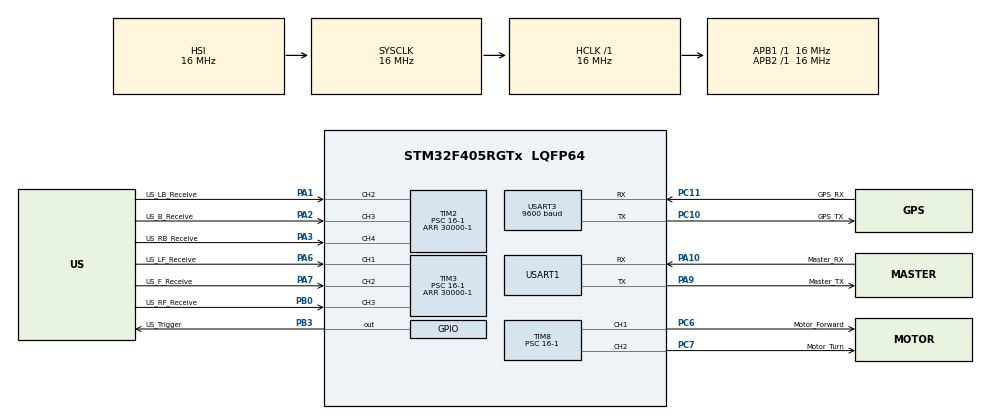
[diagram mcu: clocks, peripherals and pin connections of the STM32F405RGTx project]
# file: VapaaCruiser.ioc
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Mcu.Family=STM32F4
NVIC.USART3_IRQn=true\:0\:0\:false\:false\:true\:true\:true
PA2.GPIO_PuPd=GPIO_PULLDOWN
RCC.CortexFreq_Value=16000000
PC10.GPIO_PuPd=GPIO_PULLDOWN
PA10.GPIO_PuPd=GPIO_PULLDOWN
PC10.Signal=USART3_TX
PA3.GPIO_PuPd=GPIO_PULLDOWN
PA2.GPIO_Speed=GPIO_SPEED_FREQ_LOW
PC6.GPIO_Label=Motor_Forward
PA6.GPIO_Label=US_LF_Receive
PB0.GPIO_Label=US_RF_Receive
PA3.GPIO_Speed=GPIO_SPEED_FREQ_LOW
ProjectManager.StackSize=0x400
TIM3.Channel-Input_Capture3_from_TI3=TIM_CHANNEL_3
PC11.GPIO_PuPd=GPIO_PULLDOWN
USART3.BaudRate=9600
TIM8.Channel-PWM\ Generation1\ CH1=TIM_CHANNEL_1
TIM3.Period=30000-1
TIM2.Channel-Input_Capture3_from_TI3=TIM_CHANNEL_3
PC7.Signal=S_TIM8_CH2
PA1.GPIO_PuPd=GPIO_PULLDOWN
RCC.AHBFreq_Value=16000000
RCC.HSE_VALUE=25000000
TIM3.Channel-Input_Capture1_from_TI1=TIM_CHANNEL_1
PA6.GPIO_PuPd=GPIO_PULLDOWN
TIM3.Prescaler=16-1
PC11.GPIO_Label=GPS_RX
NVIC.TIM2_IRQn=true\:0\:0\:false\:false\:true\:true\:true
PA10.GPIO_Label=Master_RX
SH.S_TIM3_CH1.0=TIM3_CH1,Input_Capture1_from_TI1
TIM4.Period=100
Mcu.Package=LQFP64
TIM2.Prescaler=16-1
PA6.Signal=S_TIM3_CH1
TIM2.Channel-Input_Capture2_from_TI2=TIM_CHANNEL_2
PA2.GPIO_Label=US_B_Receive
PA10.Signal=USART1_RX
TIM8.Channel-PWM\ Generation2\ CH2=TIM_CHANNEL_2
PC11.Mode=Asynchronous
TIM8.Prescaler=16-1
PA6.GPIO_Speed=GPIO_SPEED_FREQ_LOW
NVIC.USART1_IRQn=true\:0\:0\:false\:false\:true\:true\:true
VP_TIM3_VS_ClockSourceINT.Mode=Internal
PA3.Signal=S_TIM2_CH4
PB3.GPIO_Label=US_Trigger
TIM3.Channel-Input_Capture2_from_TI2=TIM_CHANNEL_2
PA10.Mode=Asynchronous
PC10.GPIO_Label=GPS_TX
PA9.GPIO_Label=Master_TX
PC11.Signal=USART3_RX
PC6.Signal=S_TIM8_CH1
PC10.Mode=Asynchronous
SH.S_TIM3_CH3.0=TIM3_CH3,Input_Capture3_from_TI3
PA9.GPIO_PuPd=GPIO_PULLDOWN
SH.S_TIM8_CH2.0=TIM8_CH2,PWM Generation2 CH2
PB0.GPIO_Speed=GPIO_SPEED_FREQ_LOW
SH.S_TIM2_CH2.0=TIM2_CH2,Input_Capture2_from_TI2
PA9.Mode=Asynchronous
ProjectManager.TargetToolchain=STM32CubeIDE
PA9.Signal=USART1_TX
VP_TIM8_VS_ClockSourceINT.Mode=Internal
TIM4.Prescaler=16000-1
RCC.LSE_VALUE=32768
PA7.GPIO_PuPd=GPIO_PULLDOWN
PA1.Signal=S_TIM2_CH2
SH.S_TIM3_CH2.0=TIM3_CH2,Input_Capture2_from_TI2
SH.S_TIM8_CH1.0=TIM8_CH1,PWM Generation1 CH1
board=custom
RCC.VCOOutputFreq_Value=192000000
PA7.GPIO_Speed=GPIO_SPEED_FREQ_LOW
NVIC.TIM3_IRQn=true\:0\:0\:false\:false\:true\:true\:true
RCC.APB2Freq_Value=16000000
VP_TIM2_VS_ClockSourceINT.Mode=Internal
SH.S_TIM2_CH3.0=TIM2_CH3,Input_Capture3_from_TI3
PA1.GPIO_Speed=GPIO_SPEED_FREQ_LOW
PA1.GPIO_Label=US_LB_Receive
TIM2.Channel-Input_Capture4_from_TI4=TIM_CHANNEL_4
TIM2.Period=30000-1
Mcu.Name=STM32F405RGTx
PA2.Signal=S_TIM2_CH3
TIM8.Period=20000-1
PC7.GPIO_Label=Motor_Turn
PB3.Signal=GPIO_Output
RCC.SYSCLKFreq_VALUE=16000000
PA7.GPIO_Label=US_F_Receive
USART3.VirtualMode=VM_ASYNC
USART1.VirtualMode=VM_ASYNC
ProjectManager.HeapSize=0x200
SH.S_TIM2_CH4.0=TIM2_CH4,Input_Capture4_from_TI4
RCC.HSI_VALUE=16000000
VP_TIM4_VS_ClockSourceINT.Mode=Internal
NVIC.PriorityGroup=NVIC_PRIORITYGROUP_4
NVIC.TIM4_IRQn=true\:0\:0\:false\:false\:true\:true\:true
RCC.APB1Freq_Value=16000000
PB0.Signal=S_TIM3_CH3
PB0.GPIO_PuPd=GPIO_PULLDOWN
PA3.GPIO_Label=US_RB_Receive
PA7.Signal=S_TIM3_CH2

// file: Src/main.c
/* USER CODE BEGIN Header */
/**
  ******************************************************************************
  * @file           : main.c
  * @brief          : Main program body
  ******************************************************************************
  * @attention
  *
  * <h2><center>&copy; Copyright (c) 2020 STMicroelectronics.
  * All rights reserved.</center></h2>
  *
  * This software component is licensed by ST under BSD 3-Clause license,
  * the "License"; You may not use this file except in compliance with the
  * License. You may obtain a copy of the License at:
  *                        opensource.org/licenses/BSD-3-Clause
  *
  ******************************************************************************
  */
/* USER CODE END Header */

#include "main.h"

/* USER CODE BEGIN Includes */
#include <stdio.h>
#include <string.h>
#include "ultrasound.h"
#include "command.h"
#include "gps.h"
#include "motor.h"
#include "status.h"
/* USER CODE END Includes */

TIM_HandleTypeDef htim2;
TIM_HandleTypeDef htim3;
TIM_HandleTypeDef htim4;
TIM_HandleTypeDef htim8;

UART_HandleTypeDef huart1;
UART_HandleTypeDef huart3;

/* USER CODE BEGIN PV */

unsigned char g_Update = 0;
unsigned char g_USTrigger = 0;
/* USER CODE END PV */

void SystemClock_Config(void);
static void MX_GPIO_Init(void);
static void MX_TIM3_Init(void);
static void MX_TIM8_Init(void);
static void MX_USART1_UART_Init(void);
static void MX_USART3_UART_Init(void);
static void MX_TIM2_Init(void);
static void MX_TIM4_Init(void);

/* USER CODE BEGIN 0 */
void HAL_TIM_IC_CaptureCallback(TIM_HandleTypeDef *htim){
	ComputeUltrasoundDist(htim);
}

void HAL_TIM_PeriodElapsedCallback(TIM_HandleTypeDef *htim){
	if(htim->Instance == TIM3){
		g_Update = 1;
	}
	else if(htim->Instance == TIM4){
		g_USTrigger = 1;
	}
}

void HAL_UART_RxCpltCallback(UART_HandleTypeDef *UartHandle){
	ReceiveGPSInfo(UartHandle);
	ReceiveCommand(UartHandle);
}

void HAL_UART_TxCpltCallback(UART_HandleTypeDef *UartHandle){
	ContinueStatusSend(UartHandle);
}

/* USER CODE END 0 */

int main(void)
{

  /* MCU Configuration--------------------------------------------------------*/

  /* Reset of all peripherals, Initializes the Flash interface and the Systick. */
  HAL_Init();

  /* Configure the system clock */
  SystemClock_Config();

  /* Initialize all configured peripherals */
  MX_GPIO_Init();
  MX_TIM3_Init();
  MX_TIM8_Init();
  MX_USART1_UART_Init();
  MX_USART3_UART_Init();
  MX_TIM2_Init();
  MX_TIM4_Init();
  /* USER CODE BEGIN 2 */

	UltrasoundInstance usLF = {0}, usF = {0}, usRF = {0};
	UltrasoundInstance usLB = {0}, usB = {0}, usRB = {0};
	usLF.dir = US_LF;
	usF.dir = US_F;
	usRF.dir = US_RF;
	usLB.dir = US_LB;
	usB.dir = US_B;
	usRB.dir = US_RB;
	StartUltrasound(&usLF);
	StartUltrasound(&usF);
	StartUltrasound(&usRF);
	StartUltrasound(&usLB);
	StartUltrasound(&usB);
	StartUltrasound(&usRB);

	StartGPSReceive();
	StartCommandReceive();

	//update in every 30ms
	HAL_TIM_Base_Start_IT(&htim3);
	HAL_TIM_Base_Start_IT(&htim4);

  /* USER CODE END 2 */

  /* Infinite loop */
  while (1)
  {

    /* USER CODE BEGIN 3 */

		//?��uart?��??��?��?�新init
		if(huart1.gState == HAL_UART_STATE_RESET || huart1.RxState == HAL_UART_STATE_RESET){
			MX_USART1_UART_Init();
		}
		if(huart3.gState == HAL_UART_STATE_RESET || huart3.RxState == HAL_UART_STATE_RESET){
			MX_USART3_UART_Init();
		}

		if(g_Update == 1){
			SendUltrasoundTrigger();
			ProcessGPS();
			ParseCommand();
			UpdateMotorSpeed();
			SendSensorStatus();
			g_Update = 0;
		}
		if(g_USTrigger == 1){
			g_USTrigger = 0;
		}
  }
  /* USER CODE END 3 */
}

void SystemClock_Config(void)
{
  RCC_OscInitTypeDef RCC_OscInitStruct = {0};
  RCC_ClkInitTypeDef RCC_ClkInitStruct = {0};

  /** Configure the main internal regulator output voltage
  */
  __HAL_RCC_PWR_CLK_ENABLE();
  __HAL_PWR_VOLTAGESCALING_CONFIG(PWR_REGULATOR_VOLTAGE_SCALE1);
  /** Initializes the CPU, AHB and APB busses clocks
  */
  RCC_OscInitStruct.OscillatorType = RCC_OSCILLATORTYPE_HSI;
  RCC_OscInitStruct.HSIState = RCC_HSI_ON;
  RCC_OscInitStruct.HSICalibrationValue = RCC_HSICALIBRATION_DEFAULT;
  RCC_OscInitStruct.PLL.PLLState = RCC_PLL_NONE;
  if (HAL_RCC_OscConfig(&RCC_OscInitStruct) != HAL_OK)
  {
    Error_Handler();
  }
  /** Initializes the CPU, AHB and APB busses clocks
  */
  RCC_ClkInitStruct.ClockType = RCC_CLOCKTYPE_HCLK|RCC_CLOCKTYPE_SYSCLK
                              |RCC_CLOCKTYPE_PCLK1|RCC_CLOCKTYPE_PCLK2;
  RCC_ClkInitStruct.SYSCLKSource = RCC_SYSCLKSOURCE_HSI;
  RCC_ClkInitStruct.AHBCLKDivider = RCC_SYSCLK_DIV1;
  RCC_ClkInitStruct.APB1CLKDivider = RCC_HCLK_DIV1;
  RCC_ClkInitStruct.APB2CLKDivider = RCC_HCLK_DIV1;

  if (HAL_RCC_ClockConfig(&RCC_ClkInitStruct, FLASH_LATENCY_0) != HAL_OK)
  {
    Error_Handler();
  }
}

static void MX_TIM2_Init(void)
{

  TIM_ClockConfigTypeDef sClockSourceConfig = {0};
  TIM_MasterConfigTypeDef sMasterConfig = {0};
  TIM_IC_InitTypeDef sConfigIC = {0};

  htim2.Instance = TIM2;
  htim2.Init.Prescaler = 16-1;
  htim2.Init.CounterMode = TIM_COUNTERMODE_UP;
  htim2.Init.Period = 30000-1;
  htim2.Init.ClockDivision = TIM_CLOCKDIVISION_DIV1;
  htim2.Init.AutoReloadPreload = TIM_AUTORELOAD_PRELOAD_DISABLE;
  if (HAL_TIM_Base_Init(&htim2) != HAL_OK)
  {
    Error_Handler();
  }
  sClockSourceConfig.ClockSource = TIM_CLOCKSOURCE_INTERNAL;
  if (HAL_TIM_ConfigClockSource(&htim2, &sClockSourceConfig) != HAL_OK)
  {
    Error_Handler();
  }
  if (HAL_TIM_IC_Init(&htim2) != HAL_OK)
  {
    Error_Handler();
  }
  sMasterConfig.MasterOutputTrigger = TIM_TRGO_RESET;
  sMasterConfig.MasterSlaveMode = TIM_MASTERSLAVEMODE_DISABLE;
  if (HAL_TIMEx_MasterConfigSynchronization(&htim2, &sMasterConfig) != HAL_OK)
  {
    Error_Handler();
  }
  sConfigIC.ICPolarity = TIM_INPUTCHANNELPOLARITY_RISING;
  sConfigIC.ICSelection = TIM_ICSELECTION_DIRECTTI;
  sConfigIC.ICPrescaler = TIM_ICPSC_DIV1;
  sConfigIC.ICFilter = 0;
  if (HAL_TIM_IC_ConfigChannel(&htim2, &sConfigIC, TIM_CHANNEL_2) != HAL_OK)
  {
    Error_Handler();
  }
  if (HAL_TIM_IC_ConfigChannel(&htim2, &sConfigIC, TIM_CHANNEL_3) != HAL_OK)
  {
    Error_Handler();
  }
  if (HAL_TIM_IC_ConfigChannel(&htim2, &sConfigIC, TIM_CHANNEL_4) != HAL_OK)
  {
    Error_Handler();
  }

}

static void MX_TIM3_Init(void)
{

  TIM_ClockConfigTypeDef sClockSourceConfig = {0};
  TIM_MasterConfigTypeDef sMasterConfig = {0};
  TIM_IC_InitTypeDef sConfigIC = {0};

  htim3.Instance = TIM3;
  htim3.Init.Prescaler = 16-1;
  htim3.Init.CounterMode = TIM_COUNTERMODE_UP;
  htim3.Init.Period = 30000-1;
  htim3.Init.ClockDivision = TIM_CLOCKDIVISION_DIV1;
  htim3.Init.AutoReloadPreload = TIM_AUTORELOAD_PRELOAD_DISABLE;
  if (HAL_TIM_Base_Init(&htim3) != HAL_OK)
  {
    Error_Handler();
  }
  sClockSourceConfig.ClockSource = TIM_CLOCKSOURCE_INTERNAL;
  if (HAL_TIM_ConfigClockSource(&htim3, &sClockSourceConfig) != HAL_OK)
  {
    Error_Handler();
  }
  if (HAL_TIM_IC_Init(&htim3) != HAL_OK)
  {
    Error_Handler();
  }
  sMasterConfig.MasterOutputTrigger = TIM_TRGO_RESET;
  sMasterConfig.MasterSlaveMode = TIM_MASTERSLAVEMODE_DISABLE;
  if (HAL_TIMEx_MasterConfigSynchronization(&htim3, &sMasterConfig) != HAL_OK)
  {
    Error_Handler();
  }
  sConfigIC.ICPolarity = TIM_INPUTCHANNELPOLARITY_RISING;
  sConfigIC.ICSelection = TIM_ICSELECTION_DIRECTTI;
  sConfigIC.ICPrescaler = TIM_ICPSC_DIV1;
  sConfigIC.ICFilter = 0;
  if (HAL_TIM_IC_ConfigChannel(&htim3, &sConfigIC, TIM_CHANNEL_1) != HAL_OK)
  {
    Error_Handler();
  }
  if (HAL_TIM_IC_ConfigChannel(&htim3, &sConfigIC, TIM_CHANNEL_2) != HAL_OK)
  {
    Error_Handler();
  }
  if (HAL_TIM_IC_ConfigChannel(&htim3, &sConfigIC, TIM_CHANNEL_3) != HAL_OK)
  {
    Error_Handler();
  }

}

static void MX_TIM4_Init(void)
{

  TIM_ClockConfigTypeDef sClockSourceConfig = {0};
  TIM_MasterConfigTypeDef sMasterConfig = {0};

  htim4.Instance = TIM4;
  htim4.Init.Prescaler = 16000-1;
  htim4.Init.CounterMode = TIM_COUNTERMODE_UP;
  htim4.Init.Period = 100;
  htim4.Init.ClockDivision = TIM_CLOCKDIVISION_DIV1;
  htim4.Init.AutoReloadPreload = TIM_AUTORELOAD_PRELOAD_DISABLE;
  if (HAL_TIM_Base_Init(&htim4) != HAL_OK)
  {
    Error_Handler();
  }
  sClockSourceConfig.ClockSource = TIM_CLOCKSOURCE_INTERNAL;
  if (HAL_TIM_ConfigClockSource(&htim4, &sClockSourceConfig) != HAL_OK)
  {
    Error_Handler();
  }
  sMasterConfig.MasterOutputTrigger = TIM_TRGO_RESET;
  sMasterConfig.MasterSlaveMode = TIM_MASTERSLAVEMODE_DISABLE;
  if (HAL_TIMEx_MasterConfigSynchronization(&htim4, &sMasterConfig) != HAL_OK)
  {
    Error_Handler();
  }

}

static void MX_TIM8_Init(void)
{

  TIM_ClockConfigTypeDef sClockSourceConfig = {0};
  TIM_MasterConfigTypeDef sMasterConfig = {0};
  TIM_OC_InitTypeDef sConfigOC = {0};
  TIM_BreakDeadTimeConfigTypeDef sBreakDeadTimeConfig = {0};

  htim8.Instance = TIM8;
  htim8.Init.Prescaler = 16-1;
  htim8.Init.CounterMode = TIM_COUNTERMODE_UP;
  htim8.Init.Period = 20000-1;
  htim8.Init.ClockDivision = TIM_CLOCKDIVISION_DIV1;
  htim8.Init.RepetitionCounter = 0;
  htim8.Init.AutoReloadPreload = TIM_AUTORELOAD_PRELOAD_DISABLE;
  if (HAL_TIM_Base_Init(&htim8) != HAL_OK)
  {
    Error_Handler();
  }
  sClockSourceConfig.ClockSource = TIM_CLOCKSOURCE_INTERNAL;
  if (HAL_TIM_ConfigClockSource(&htim8, &sClockSourceConfig) != HAL_OK)
  {
    Error_Handler();
  }
  if (HAL_TIM_PWM_Init(&htim8) != HAL_OK)
  {
    Error_Handler();
  }
  sMasterConfig.MasterOutputTrigger = TIM_TRGO_RESET;
  sMasterConfig.MasterSlaveMode = TIM_MASTERSLAVEMODE_DISABLE;
  if (HAL_TIMEx_MasterConfigSynchronization(&htim8, &sMasterConfig) != HAL_OK)
  {
    Error_Handler();
  }
  sConfigOC.OCMode = TIM_OCMODE_PWM1;
  sConfigOC.Pulse = 0;
  sConfigOC.OCPolarity = TIM_OCPOLARITY_HIGH;
  sConfigOC.OCNPolarity = TIM_OCNPOLARITY_HIGH;
  sConfigOC.OCFastMode = TIM_OCFAST_DISABLE;
  sConfigOC.OCIdleState = TIM_OCIDLESTATE_RESET;
  sConfigOC.OCNIdleState = TIM_OCNIDLESTATE_RESET;
  if (HAL_TIM_PWM_ConfigChannel(&htim8, &sConfigOC, TIM_CHANNEL_1) != HAL_OK)
  {
    Error_Handler();
  }
  if (HAL_TIM_PWM_ConfigChannel(&htim8, &sConfigOC, TIM_CHANNEL_2) != HAL_OK)
  {
    Error_Handler();
  }
  sBreakDeadTimeConfig.OffStateRunMode = TIM_OSSR_DISABLE;
  sBreakDeadTimeConfig.OffStateIDLEMode = TIM_OSSI_DISABLE;
  sBreakDeadTimeConfig.LockLevel = TIM_LOCKLEVEL_OFF;
  sBreakDeadTimeConfig.DeadTime = 0;
  sBreakDeadTimeConfig.BreakState = TIM_BREAK_DISABLE;
  sBreakDeadTimeConfig.BreakPolarity = TIM_BREAKPOLARITY_HIGH;
  sBreakDeadTimeConfig.AutomaticOutput = TIM_AUTOMATICOUTPUT_DISABLE;
  if (HAL_TIMEx_ConfigBreakDeadTime(&htim8, &sBreakDeadTimeConfig) != HAL_OK)
  {
    Error_Handler();
  }
  HAL_TIM_MspPostInit(&htim8);

}

static void MX_USART1_UART_Init(void)
{

  huart1.Instance = USART1;
  huart1.Init.BaudRate = 115200;
  huart1.Init.WordLength = UART_WORDLENGTH_8B;
  huart1.Init.StopBits = UART_STOPBITS_1;
  huart1.Init.Parity = UART_PARITY_NONE;
  huart1.Init.Mode = UART_MODE_TX_RX;
  huart1.Init.HwFlowCtl = UART_HWCONTROL_NONE;
  huart1.Init.OverSampling = UART_OVERSAMPLING_16;
  if (HAL_UART_Init(&huart1) != HAL_OK)
  {
    Error_Handler();
  }

}

static void MX_USART3_UART_Init(void)
{

  huart3.Instance = USART3;
  huart3.Init.BaudRate = 9600;
  huart3.Init.WordLength = UART_WORDLENGTH_8B;
  huart3.Init.StopBits = UART_STOPBITS_1;
  huart3.Init.Parity = UART_PARITY_NONE;
  huart3.Init.Mode = UART_MODE_TX_RX;
  huart3.Init.HwFlowCtl = UART_HWCONTROL_NONE;
  huart3.Init.OverSampling = UART_OVERSAMPLING_16;
  if (HAL_UART_Init(&huart3) != HAL_OK)
  {
    Error_Handler();
  }

}

static void MX_GPIO_Init(void)
{
  GPIO_InitTypeDef GPIO_InitStruct = {0};

  /* GPIO Ports Clock Enable */
  __HAL_RCC_GPIOA_CLK_ENABLE();
  __HAL_RCC_GPIOB_CLK_ENABLE();
  __HAL_RCC_GPIOC_CLK_ENABLE();

  /*Configure GPIO pin Output Level */
  HAL_GPIO_WritePin(US_Trigger_GPIO_Port, US_Trigger_Pin, GPIO_PIN_RESET);

  /*Configure GPIO pin : US_Trigger_Pin */
  GPIO_InitStruct.Pin = US_Trigger_Pin;
  GPIO_InitStruct.Mode = GPIO_MODE_OUTPUT_PP;
  GPIO_InitStruct.Pull = GPIO_NOPULL;
  GPIO_InitStruct.Speed = GPIO_SPEED_FREQ_LOW;
  HAL_GPIO_Init(US_Trigger_GPIO_Port, &GPIO_InitStruct);

}

void Error_Handler(void)
{
}

/************************ (C) COPYRIGHT STMicroelectronics *****END OF FILE****/
